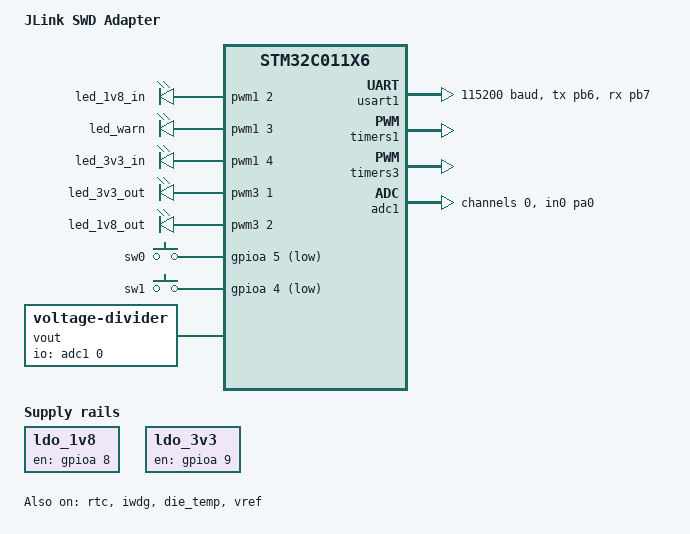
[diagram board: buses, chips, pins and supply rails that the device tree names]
/dts-v1/;
#include <st/c0/stm32c011X6.dtsi>
#include <st/c0/stm32c011f(4-6)ux-pinctrl.dtsi>
#include <zephyr/dt-bindings/input/input-event-codes.h>

/ {
	model = "JLink SWD Adapter";
	compatible = "balto,jlink-adapter";

	chosen {
		zephyr,console = &usart1;
		zephyr,shell-uart = &usart1;
		zephyr,sram = &sram0;
		zephyr,flash = &flash0;
	};

	leds: pwmleds {
		compatible = "pwm-leds";

		led_1v8_in: led_0 {
			pwms = <&pwm1 2 PWM_HZ(200) PWM_POLARITY_NORMAL>;
		};
		led_warn: led_1 {
			pwms = <&pwm1 3 PWM_HZ(200) PWM_POLARITY_NORMAL>;
		};
		led_3v3_in: led_2 {
			pwms = <&pwm1 4 PWM_HZ(200) PWM_POLARITY_NORMAL>;
		};
		led_3v3_out: led_3 {
			pwms = <&pwm3 1 PWM_HZ(200) PWM_POLARITY_NORMAL>;
		};
		led_1v8_out: led_4 {
			pwms = <&pwm3 2 PWM_HZ(200) PWM_POLARITY_NORMAL>;
		};
	};

	buttons: gpio_keys {
		compatible = "gpio-keys";
		sw0 {
			gpios = <&gpioa 5 (GPIO_PULL_UP | GPIO_ACTIVE_LOW)>;
			zephyr,code = <INPUT_KEY_0>;
		};
		sw1 {
			gpios = <&gpioa 4 (GPIO_PULL_UP | GPIO_ACTIVE_LOW)>;
			zephyr,code = <INPUT_KEY_1>;
		};
	};

	vout: vout {
		compatible = "voltage-divider";
		io-channels = <&adc1 0>;
		output-ohms = <(100 * 1000)>;
		full-ohms = <(100 * 1000 * 2)>;
	};

	ldo_1v8: ldo-1v8 {
		compatible = "regulator-fixed";
		regulator-name = "analog_en";
		enable-gpios = <&gpioa 8 GPIO_ACTIVE_HIGH>;
	};

	ldo_3v3: ldo-3v3 {
		compatible = "regulator-fixed";
		regulator-name = "analog_en";
		enable-gpios = <&gpioa 9 GPIO_ACTIVE_HIGH>;
	};
};

&clk_hsi {
	status = "okay";
};

&rcc {
	clocks = <&clk_hsi>;
	clock-frequency = <DT_FREQ_M(48)>;
	ahb-prescaler = <1>;
	apb1-prescaler = <1>;
};

&pinctrl {
	remap-pa11;
};

&usart1 {
	pinctrl-0 = <&usart1_tx_pb6 &usart1_rx_pb7>;
	pinctrl-names = "default";
	current-speed = <115200>;
	status = "okay";
};

&rtc {
	clocks = <&rcc STM32_CLOCK_BUS_APB1 0x00000400>,
		 <&rcc STM32_SRC_LSE RTC_SEL(1)>;
	status = "okay";
};

&iwdg {
	status = "okay";
};

&timers1 {
	st,prescaler = <10000>;
	status = "okay";

	pwm1: pwm {
		pinctrl-0 = <&tim1_ch2_pa1 &tim1_ch3_pa2 &tim1_ch4_pa3>;
		pinctrl-names = "default";
		status = "okay";
	};
};

&timers3 {
	st,prescaler = <10000>;
	status = "okay";

	pwm3: pwm {
		pinctrl-0 = <&tim3_ch1_pa6 &tim3_ch2_pa7>;
		pinctrl-names = "default";
		status = "okay";
	};
};

&adc1 {
	st,adc-clock-source = <SYNC>;
	st,adc-prescaler = <2>;
	status = "okay";

	#address-cells = <1>;
	#size-cells = <0>;

	pinctrl-0 = <&adc1_in0_pa0>;
	pinctrl-names = "default";

	channel@0 {
		reg = <0x0>;
		zephyr,gain = "ADC_GAIN_1";
		zephyr,reference = "ADC_REF_INTERNAL";
		zephyr,acquisition-time = <ADC_ACQ_TIME_DEFAULT>;
		zephyr,resolution = <12>;
		zephyr,vref-mv = <3300>;
	};

};

&die_temp {
	status = "okay";
};

&vref {
	status = "okay";
};

&dma1 {
	status = "okay";
};

&dmamux1 {
	status = "okay";
};
